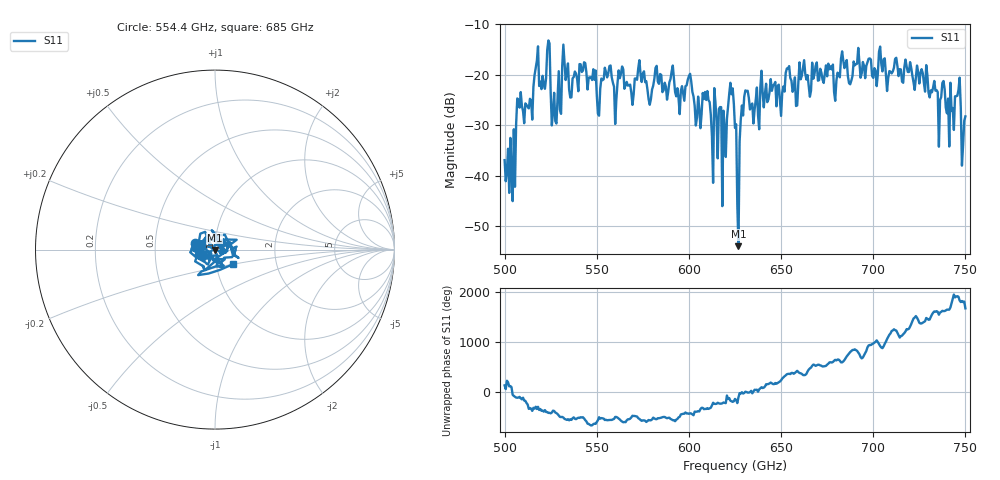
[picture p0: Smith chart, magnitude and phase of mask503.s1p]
!Created with skrf (http://scikit-rf.org).
# GHz S MA R 50.0
!freq magS11 angS11
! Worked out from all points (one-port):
!   401 points, 500 GHz to 750 GHz, reference 50 ohm
!   lowest |S11| = -54.0 dB at 626.9 GHz (marker M1), VSWR 1.00, Z = 50 - j0.195 ohm
!   |S11| at or under -10 dB: start of sweep to end of sweep
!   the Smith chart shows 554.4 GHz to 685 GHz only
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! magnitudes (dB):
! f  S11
! 500 GHz  -36.9
! 505 GHz  -30.8
! 507.5 GHz  -25.0
! 513.8 GHz  -24.8
! 516.9 GHz  -18.6
! 520.6 GHz  -20.2
! 523.8 GHz  -13.2
! 526.9 GHz  -23.6
! 531.2 GHz  -18.3
! 542.5 GHz  -19.2
! 551.2 GHz  -28.1
! 562.5 GHz  -20.7
! 578.8 GHz  -26.0
! 590.6 GHz  -19.4
! 593.8 GHz  -22.7
! 610 GHz  -23.2
! 611.9 GHz  -27.9
! 619.4 GHz  -30.6
! 623.1 GHz  -23.9
! 625 GHz  -30.5
! 626.9 GHz  -54.0
! 631.2 GHz  -23.3
! 656.2 GHz  -23.4
! 687.5 GHz  -21.9
! 718.8 GHz  -19.4
! 742.5 GHz  -27.2
! 745.6 GHz  -24.2
! 750 GHz  -28.3
